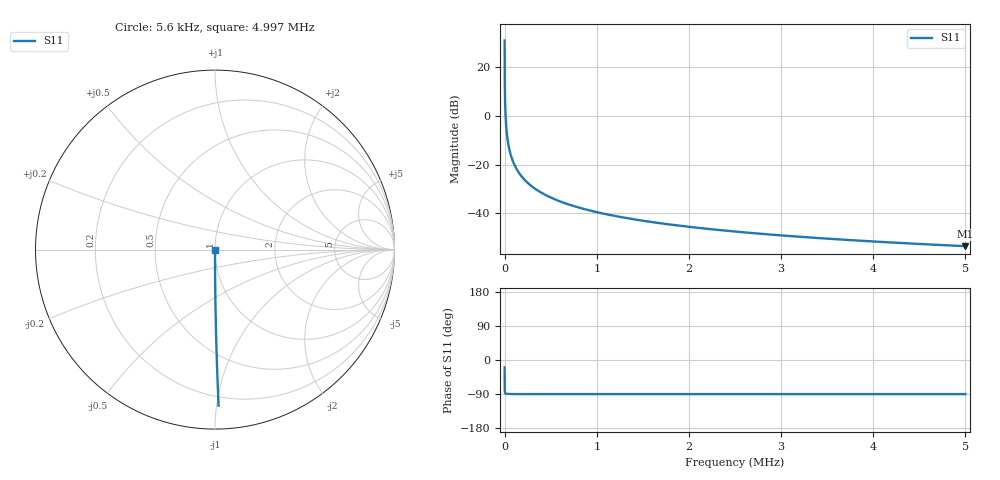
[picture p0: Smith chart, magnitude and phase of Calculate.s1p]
# MHz MA S R 50.0
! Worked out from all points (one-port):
!   50000 points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, 100 Hz to 5 MHz, reference 50 ohm
!   lowest |S11| = -53.5 dB at 4.999 MHz (marker M1), VSWR 1.00, Z = 50 - j0.212 ohm
!   |S11| at or under -10 dB: 33.55 kHz to end of sweep
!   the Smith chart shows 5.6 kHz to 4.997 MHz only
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0.0001  35.67 -19.6
0.0119  0.8914 -88.7
0.0252  0.421 -89.4
0.0254  0.4177 -89.4
0.0256  0.4144 -89.4
0.026  0.4081 -89.4
0.0265  0.4004 -89.4
0.0273  0.3886 -89.4
0.0284  0.3736 -89.4
0.0314  0.3379 -89.5
0.0359  0.2955 -89.6
0.0422  0.2514 -89.6
0.0648  0.1637 -89.8
0.0962  0.1103 -89.8
0.1304  0.08137 -89.9
0.1722  0.06162 -89.9
0.2817  0.03766 -89.9
0.4308  0.02463 -90.0
0.6251  0.01697 -90.0
0.9018  0.01177 -90.0
1.2501  0.008488 -90.0
1.8751  0.005659 -90.0
2.5001  0.004244 -90.0
3.1251  0.003395 -90.0
3.7501  0.002829 -90.0
4.3751  0.002425 -90.0
4.999  0.002122 -90.0
5  0.002122 -90.0
